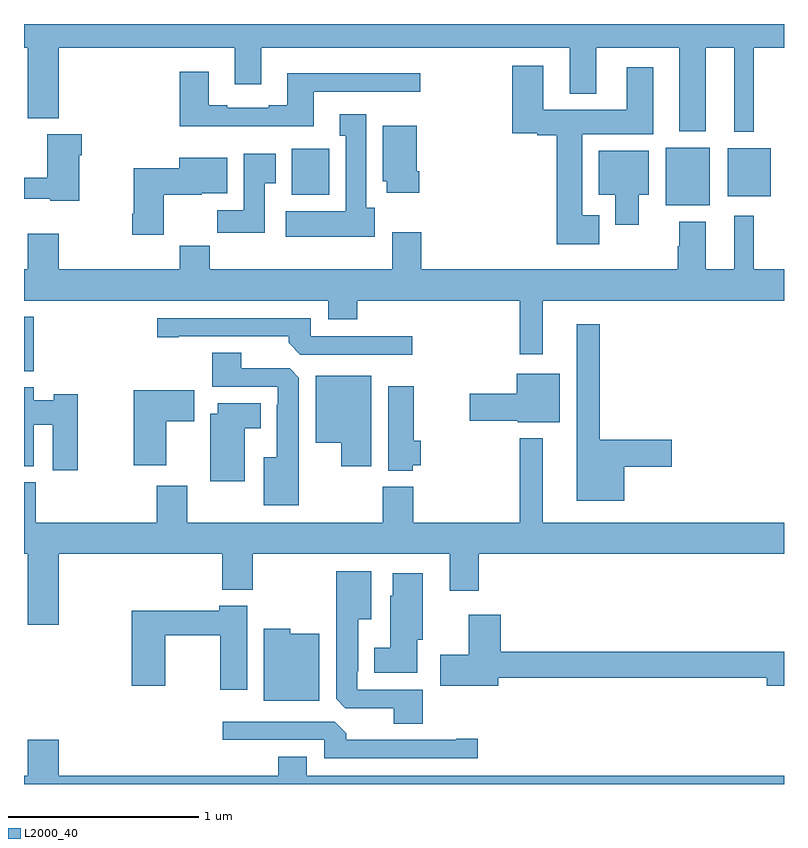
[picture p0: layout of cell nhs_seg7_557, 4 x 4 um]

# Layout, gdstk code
import gdstk
lib = gdstk.Library(unit=1e-6, precision=1e-09)
def R(c, l, rs):  # rectangles x0, y0, x1, y1
    for r in rs: c.add(gdstk.rectangle(r[:2], r[2:], *l))
def P(c, l, *ps):  # polygons
    for p in ps: c.add(gdstk.Polygon(p, *l))
L2000_40 = (2000, 40)

nhs_seg7_557 = lib.new_cell('nhs_seg7_557')
R(nhs_seg7_557, L2000_40, [(153,1072.173,153.05,1072.459), (156.377,1073.045,156.61,1073.35), (156.704,1073.093,156.931,1073.347), (154.409,1073.102,154.606,1073.344)])
P(nhs_seg7_557, L2000_40, [(156.841,1073.876),(157,1073.876),(157,1074),(153,1074),(153,1073.876),(153.02,1073.876),(153.02,1073.504),(153.184,1073.504),(153.184,1073.876),(154.109,1073.876),(154.109,1073.682),(154.249,1073.682),(154.249,1073.876),(155.873,1073.876),(155.873,1073.633),(156.013,1073.633),(156.013,1073.876),(156.449,1073.876),(156.449,1073.435),(156.589,1073.435),(156.589,1073.876),(156.737,1073.876),(156.737,1073.432),(156.841,1073.432)],
  [(156.028,1072.993),(155.938,1072.993),(155.938,1073.42),(156.313,1073.42),(156.313,1073.773),(156.173,1073.773),(156.173,1073.548),(155.734,1073.548),(155.734,1073.779),(155.569,1073.779),(155.569,1073.426),(155.7,1073.426),(155.7,1073.414),(155.804,1073.414),(155.804,1072.841),(156.028,1072.841)],
  [(154.525,1073.643),(155.086,1073.643),(155.086,1073.74),(154.385,1073.74),(154.385,1073.572),(154.289,1073.572),(154.289,1073.559),(154.069,1073.559),(154.069,1073.572),(153.973,1073.572),(153.973,1073.749),(153.821,1073.749),(153.821,1073.462),(154.525,1073.462)],
  [(154.846,1073.034),(154.801,1073.034),(154.801,1073.524),(154.661,1073.524),(154.661,1073.411),(154.694,1073.411),(154.694,1073.014),(154.377,1073.014),(154.377,1072.88),(154.846,1072.88)],
  [(155.081,1073.224),(155.068,1073.224),(155.068,1073.464),(154.889,1073.464),(154.889,1073.172),(154.91,1073.172),(154.91,1073.112),(155.081,1073.112)],
  [(153.292,1073.309),(153.305,1073.309),(153.305,1073.419),(153.122,1073.419),(153.122,1073.191),(153,1073.191),(153,1073.081),(153.138,1073.081),(153.138,1073.069),(153.292,1073.069)],
  [(156.235,1073.102),(156.289,1073.102),(156.289,1073.332),(156.026,1073.332),(156.026,1073.102),(156.113,1073.102),(156.113,1072.944),(156.235,1072.944)],
  [(154.267,1073.161),(154.324,1073.161),(154.324,1073.317),(154.157,1073.317),(154.157,1073.02),(154.018,1073.02),(154.018,1072.902),(154.267,1072.902)],
  [(153.736,1073.102),(153.936,1073.102),(153.936,1073.108),(154.069,1073.108),(154.069,1073.296),(153.818,1073.296),(153.818,1073.242),(153.578,1073.242),(153.578,1073.002),(153.571,1073.002),(153.571,1072.89),(153.736,1072.89)],
  [(155.731,1072.544),(157,1072.544),(157,1072.708),(156.841,1072.708),(156.841,1072.99),(156.737,1072.99),(156.737,1072.708),(156.589,1072.708),(156.589,1072.96),(156.449,1072.96),(156.449,1072.829),(156.442,1072.829),(156.442,1072.708),(155.09,1072.708),(155.09,1072.903),(154.937,1072.903),(154.937,1072.708),(153.977,1072.708),(153.977,1072.832),(153.821,1072.832),(153.821,1072.708),(153.184,1072.708),(153.184,1072.897),(153.02,1072.897),(153.02,1072.708),(153,1072.708),(153,1072.544),(154.601,1072.544),(154.601,1072.445),(154.754,1072.445),(154.754,1072.544),(155.61,1072.544),(155.61,1072.263),(155.731,1072.263)],
  [(155.044,1072.356),(154.509,1072.356),(154.509,1072.452),(153.702,1072.452),(153.702,1072.351),(153.814,1072.351),(153.814,1072.356),(154.394,1072.356),(154.394,1072.322),(154.455,1072.26),(155.044,1072.26)],
  [(156.16,1071.67),(156.409,1071.67),(156.409,1071.812),(156.031,1071.812),(156.031,1072.42),(155.909,1072.42),(155.909,1071.491),(156.16,1071.491)],
  [(154.447,1072.139),(154.398,1072.188),(154.144,1072.188),(154.144,1072.271),(153.992,1072.271),(153.992,1072.092),(154.335,1072.092),(154.335,1071.995),(154.331,1071.995),(154.331,1071.721),(154.262,1071.721),(154.262,1071.467),(154.447,1071.467)],
  [(155.821,1072.159),(155.594,1072.159),(155.594,1072.053),(155.346,1072.053),(155.346,1071.911),(155.598,1071.911),(155.598,1071.905),(155.821,1071.905)],
  [(154.828,1072.15),(154.535,1072.15),(154.535,1071.797),(154.67,1071.797),(154.67,1071.672),(154.828,1071.672)],
  [(155.046,1071.677),(155.089,1071.677),(155.089,1071.807),(155.05,1071.807),(155.05,1072.093),(154.916,1072.093),(154.916,1071.65),(155.046,1071.65)],
  [(153.282,1072.052),(153.156,1072.052),(153.156,1072.021),(153.052,1072.021),(153.052,1072.088),(153,1072.088),(153,1071.673),(153.052,1071.673),(153.052,1071.892),(153.152,1071.892),(153.152,1071.651),(153.282,1071.651)],
  [(153.748,1071.91),(153.895,1071.91),(153.895,1072.072),(153.578,1072.072),(153.578,1071.677),(153.748,1071.677)],
  [(154.162,1071.872),(154.246,1071.872),(154.246,1072.003),(154.019,1072.003),(154.019,1071.949),(153.98,1071.949),(153.98,1071.593),(154.162,1071.593)],
  [(153.184,1071.212),(154.043,1071.212),(154.043,1071.023),(154.203,1071.023),(154.203,1071.212),(155.24,1071.212),(155.24,1071.018),(155.393,1071.018),(155.393,1071.212),(157,1071.212),(157,1071.376),(155.731,1071.376),(155.731,1071.82),(155.61,1071.82),(155.61,1071.376),(155.048,1071.376),(155.048,1071.565),(154.888,1071.565),(154.888,1071.376),(153.858,1071.376),(153.858,1071.571),(153.698,1071.571),(153.698,1071.376),(153.062,1071.376),(153.062,1071.588),(153,1071.588),(153,1071.212),(153.02,1071.212),(153.02,1070.838),(153.184,1070.838)],
  [(155.099,1070.496),(154.755,1070.496),(154.755,1070.593),(154.759,1070.593),(154.759,1070.867),(154.828,1070.867),(154.828,1071.121),(154.643,1071.121),(154.643,1070.449),(154.692,1070.4),(154.946,1070.4),(154.946,1070.317),(155.099,1070.317)],
  [(155.071,1070.76),(155.098,1070.76),(155.098,1071.109),(154.94,1071.109),(154.94,1070.991),(154.928,1070.991),(154.928,1070.716),(154.844,1070.716),(154.844,1070.585),(155.071,1070.585)],
  [(154.174,1070.938),(154.028,1070.938),(154.028,1070.911),(153.566,1070.911),(153.566,1070.517),(153.744,1070.517),(153.744,1070.782),(154.033,1070.782),(154.033,1070.496),(154.174,1070.496)],
  [(155.497,1070.56),(156.908,1070.56),(156.908,1070.518),(157,1070.518),(157,1070.696),(155.51,1070.696),(155.51,1070.89),(155.342,1070.89),(155.342,1070.679),(155.19,1070.679),(155.19,1070.516),(155.497,1070.516)],
  [(154.555,1070.791),(154.401,1070.791),(154.401,1070.818),(154.262,1070.818),(154.262,1070.438),(154.555,1070.438)],
  [(155.389,1070.237),(155.276,1070.237),(155.276,1070.232),(154.697,1070.232),(154.697,1070.266),(154.635,1070.328),(154.047,1070.328),(154.047,1070.232),(154.581,1070.232),(154.581,1070.136),(155.389,1070.136)],
  [(157,1070.044),(154.489,1070.044),(154.489,1070.143),(154.337,1070.143),(154.337,1070.044),(153.184,1070.044),(153.184,1070.233),(153.02,1070.233),(153.02,1070.044),(153,1070.044),(153,1070),(157,1070)])

lib.write_gds('nhs_seg7_557.gds')
